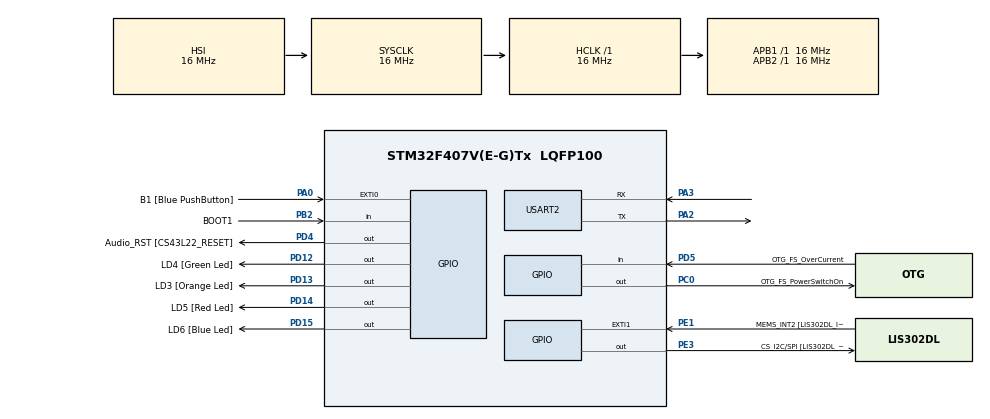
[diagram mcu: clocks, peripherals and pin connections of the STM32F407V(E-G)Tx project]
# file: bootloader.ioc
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Mcu.Family=STM32F4
Mcu.Name=STM32F407V(E-G)Tx
Mcu.Package=LQFP100
NVIC.PriorityGroup=NVIC_PRIORITYGROUP_0
PA0-WKUP.GPIO_Label=B1 [Blue PushButton]
PA0-WKUP.Signal=GPXTI0
PA10.GPIO_Label=OTG_FS_ID
PA10.GPIO_Mode=GPIO_MODE_AF_PP
PA10.GPIO_PuPd=GPIO_NOPULL
PA10.GPIO_Speed=GPIO_SPEED_FREQ_LOW
PA10.Signal=USB_OTG_FS_ID
PA11.GPIO_Label=OTG_FS_DM
PA11.GPIO_Mode=GPIO_MODE_AF_PP
PA11.GPIO_PuPd=GPIO_NOPULL
PA11.GPIO_Speed=GPIO_SPEED_FREQ_LOW
PA11.Signal=USB_OTG_FS_DM
PA12.GPIO_Label=OTG_FS_DP
PA12.GPIO_Mode=GPIO_MODE_AF_PP
PA12.GPIO_PuPd=GPIO_NOPULL
PA12.GPIO_Speed=GPIO_SPEED_FREQ_LOW
PA12.Signal=USB_OTG_FS_DP
PA13.GPIO_Label=SWDIO
PA13.Mode=Serial_Wire
PA13.Signal=SYS_JTMS-SWDIO
PA14.GPIO_Label=SWCLK
PA14.Mode=Serial_Wire
PA14.Signal=SYS_JTCK-SWCLK
PA2.Mode=Asynchronous
PA2.Signal=USART2_TX
PA3.Mode=Asynchronous
PA3.Signal=USART2_RX
PA4.GPIO_Label=I2S3_WS [CS43L22_LRCK]
PA4.GPIO_Mode=GPIO_MODE_AF_PP
PA4.GPIO_PuPd=GPIO_NOPULL
PA4.GPIO_Speed=GPIO_SPEED_FREQ_LOW
PA4.Signal=I2S3_WS
PA5.GPIO_Label=SPI1_SCK [LIS302DL_SCL/SPC]
PA5.GPIO_Mode=GPIO_MODE_AF_PP
PA5.GPIO_PuPd=GPIO_NOPULL
PA5.GPIO_Speed=GPIO_SPEED_FREQ_LOW
PA5.Signal=SPI1_SCK
PA6.GPIO_Label=SPI1_MISO [LIS302DL_SDO]
PA6.GPIO_Mode=GPIO_MODE_AF_PP
PA6.GPIO_PuPd=GPIO_NOPULL
PA6.GPIO_Speed=GPIO_SPEED_FREQ_LOW
PA6.Signal=SPI1_MISO
PA7.GPIO_Label=SPI1_MOSI [LIS302DL_SDA/SDI/SDO]
PA7.GPIO_Mode=GPIO_MODE_AF_PP
PA7.GPIO_PuPd=GPIO_NOPULL
PA7.GPIO_Speed=GPIO_SPEED_FREQ_LOW
PA7.Signal=SPI1_MOSI
PA9.GPIO_Label=VBUS_FS
PA9.GPIO_Mode=GPIO_MODE_INPUT
PA9.GPIO_PuPd=GPIO_NOPULL
PA9.Signal=USB_OTG_FS_VBUS
PB10.GPIO_Label=CLK_IN [MP45DT02_CLK]
PB10.GPIO_Mode=GPIO_MODE_AF_PP
PB10.GPIO_PuPd=GPIO_NOPULL
PB10.GPIO_Speed=GPIO_SPEED_FREQ_LOW
PB10.Signal=I2S2_CK
PB2.GPIO_Label=BOOT1
PB2.GPIO_Mode=GPIO_MODE_INPUT
PB2.GPIO_PuPd=GPIO_NOPULL
PB2.Signal=GPIO_Input
PB3.GPIO_Label=SWO
PB3.Signal=SYS_JTDO-SWO
PB6.GPIO_Label=Audio_SCL [CS43L22_SCL]
PB6.GPIO_Mode=GPIO_MODE_AF_OD
PB6.GPIO_PuPd=GPIO_NOPULL
PB6.GPIO_Speed=GPIO_SPEED_FREQ_LOW
PB6.Signal=I2C1_SCL
PB9.GPIO_Label=Audio_SDA [CS43L22_SDA]
PB9.GPIO_Mode=GPIO_MODE_AF_OD
PB9.GPIO_PuPd=GPIO_NOPULL
PB9.GPIO_Speed=GPIO_SPEED_FREQ_LOW
PB9.Signal=I2C1_SDA
PC0.GPIO_Label=OTG_FS_PowerSwitchOn
PC0.GPIO_PuPd=GPIO_NOPULL
PC0.GPIO_Speed=GPIO_SPEED_FREQ_LOW
PC0.PinState=GPIO_PIN_SET
PC0.Signal=GPIO_Output
PC10.GPIO_Label=I2S3_SCK [CS43L22_SCLK]
PC10.GPIO_Mode=GPIO_MODE_AF_PP
PC10.GPIO_PuPd=GPIO_NOPULL
PC10.GPIO_Speed=GPIO_SPEED_FREQ_LOW
PC10.Signal=I2S3_CK
PC12.GPIO_Label=I2S3_SD [CS43L22_SDIN]
PC12.GPIO_Mode=GPIO_MODE_AF_PP
PC12.GPIO_PuPd=GPIO_NOPULL
PC12.GPIO_Speed=GPIO_SPEED_FREQ_LOW
PC12.Signal=I2S3_SD
PC14-OSC32_IN.GPIO_Label=PC14-OSC32_IN
PC14-OSC32_IN.Signal=RCC_OSC32_IN
PC15-OSC32_OUT.GPIO_Label=PC15-OSC32_OUT
PC15-OSC32_OUT.Signal=RCC_OSC32_OUT
PC3.GPIO_Label=PDM_OUT [MP45DT02_DOUT]
PC3.GPIO_Mode=GPIO_MODE_AF_PP
PC3.GPIO_PuPd=GPIO_NOPULL
PC3.GPIO_Speed=GPIO_SPEED_FREQ_LOW
PC3.Signal=I2S2_SD
PC7.GPIO_Label=I2S3_MCK [CS43L22_MCLK]
PC7.GPIO_Mode=GPIO_MODE_AF_PP
PC7.GPIO_PuPd=GPIO_NOPULL
PC7.GPIO_Speed=GPIO_SPEED_FREQ_LOW
PC7.Signal=I2S3_MCK
PD12.GPIO_Label=LD4 [Green Led]
PD12.GPIO_PuPd=GPIO_NOPULL
PD12.GPIO_Speed=GPIO_SPEED_FREQ_LOW
PD12.Signal=GPIO_Output
PD13.GPIO_Label=LD3 [Orange Led]
PD13.GPIO_PuPd=GPIO_NOPULL
PD13.GPIO_Speed=GPIO_SPEED_FREQ_LOW
PD13.Signal=GPIO_Output
PD14.GPIO_Label=LD5 [Red Led]
PD14.GPIO_PuPd=GPIO_NOPULL
PD14.GPIO_Speed=GPIO_SPEED_FREQ_LOW
PD14.Signal=GPIO_Output
PD15.GPIO_Label=LD6 [Blue Led]
PD15.GPIO_PuPd=GPIO_NOPULL
PD15.GPIO_Speed=GPIO_SPEED_FREQ_LOW
PD15.Signal=GPIO_Output
PD4.GPIO_Label=Audio_RST [CS43L22_RESET]
PD4.GPIO_PuPd=GPIO_NOPULL
PD4.GPIO_Speed=GPIO_SPEED_FREQ_LOW
PD4.Signal=GPIO_Output
PD5.GPIO_Label=OTG_FS_OverCurrent
PD5.GPIO_Mode=GPIO_MODE_INPUT
PD5.GPIO_PuPd=GPIO_NOPULL
PD5.Signal=GPIO_Input
PE1.GPIO_Label=MEMS_INT2 [LIS302DL_INT2]
PE1.GPIO_ModeDefaultEXTI=GPIO_MODE_EVT_RISING
PE1.GPIO_PuPd=GPIO_NOPULL
PE1.Signal=GPXTI1
PE3.GPIO_Label=CS_I2C/SPI [LIS302DL_CS_I2C/SPI]
PE3.GPIO_PuPd=GPIO_NOPULL
PE3.GPIO_Speed=GPIO_SPEED_FREQ_LOW
PE3.Signal=GPIO_Output
PH0-OSC_IN.GPIO_Label=PH0-OSC_IN
PH0-OSC_IN.Signal=RCC_OSC_IN
PH1-OSC_OUT.GPIO_Label=PH1-OSC_OUT
PH1-OSC_OUT.Signal=RCC_OSC_OUT
ProjectManager.HeapSize=0x200
ProjectManager.StackSize=0x400
ProjectManager.TargetToolchain=STM32CubeIDE
RCC.48MHZClocksFreq_Value=14285714.285714285
RCC.AHBFreq_Value=16000000
RCC.APB1Freq_Value=16000000
RCC.APB1TimFreq_Value=16000000
RCC.APB2Freq_Value=16000000
RCC.APB2TimFreq_Value=16000000
RCC.CortexFreq_Value=16000000
RCC.HCLKFreq_Value=16000000
RCC.HSE_VALUE=8000000
RCC.HSI_VALUE=16000000
RCC.LSE_VALUE=32768
RCC.PLLM=8
RCC.PLLN=50
RCC.PLLP=RCC_PLLP_DIV4
RCC.PLLQ=7
RCC.SYSCLKFreq_VALUE=16000000
RCC.VCOOutputFreq_Value=100000000
USART2.VirtualMode=VM_ASYNC
board=STM32F407G-DISC1

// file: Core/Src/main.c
/* USER CODE BEGIN Header */
/**
  ******************************************************************************
  * @file           : main.c
  * @brief          : Main program body
  ******************************************************************************
  * @attention
  *
  * Copyright (c) 2026 STMicroelectronics.
  * All rights reserved.
  *
  * This software is licensed under terms that can be found in the LICENSE file
  * in the root directory of this software component.
  * If no LICENSE file comes with this software, it is provided AS-IS.
  *
  ******************************************************************************
  */
/* USER CODE END Header */
#include "main.h"

/* USER CODE BEGIN Includes */
#include <string.h>
#include "flash_if.h"
#include "protocol.h"
#include "boot_commands.h"
#include "image_store.h"
/* USER CODE END Includes */

/* USER CODE BEGIN PD */
#define APP_BASE_ADDRESS      FLASH_APP_BASE
#define APP_END_EXCLUSIVE     (FLASH_APP_BASE + FLASH_APP_SIZE)
#define APP_RAM_BASE          0x20000000UL
#define APP_RAM_END_EXCLUSIVE 0x20020000UL
/* USER CODE END PD */

UART_HandleTypeDef huart2;

/* USER CODE BEGIN PV */
static ProtocolParser boot_parser;
static BootCommands boot_commands;

/* USER CODE END PV */

void SystemClock_Config(void);
static void MX_GPIO_Init(void);
static void MX_USART2_UART_Init(void);

/* USER CODE BEGIN 0 */
/* GET_INFO diagnostic level 1 only; this check never authorizes a jump. */
static uint32_t Boot_AppVectorsSane(uint32_t msp, uint32_t reset_vector)
{
  uint32_t entry = reset_vector & ~1UL;

  /* Initial descending stack may point one byte past the RAM address range. */
  if ((msp <= APP_RAM_BASE) || (msp > APP_RAM_END_EXCLUSIVE) ||
      ((msp & 7UL) != 0UL))
  {
    return 0U;
  }

  if (((reset_vector & 1UL) == 0UL) ||
      (entry < (APP_BASE_ADDRESS + 8UL)) || (entry >= APP_END_EXCLUSIVE))
  {
    return 0U;
  }

  return 1U;
}

/* Called in the main loop, after CRC/version/length validation. */
static void Boot_OnFrame(const ProtocolFrame *request, void *context)
{
  (void)context;
  ProtocolFrame response;
  uint8_t wire[PROTOCOL_MAX_FRAME];
  uint32_t msp = *(const volatile uint32_t *)APP_BASE_ADDRESS;
  uint32_t reset = *(const volatile uint32_t *)(APP_BASE_ADDRESS + 4UL);
  BootCommands_Handle(&boot_commands, request,
                      (uint8_t)Boot_AppVectorsSane(msp, reset), &response);
  size_t length = Protocol_Encode(&response, wire, sizeof(wire));
  if (length == 0U) Error_Handler();
  /* A transport failure leaves the cached reply available for host retry. */
  (void)HAL_UART_Transmit(&huart2, wire, (uint16_t)length, 100U);
}

/* GCC/AAPCS: r0 = application MSP, r1 = Thumb reset vector.
 * No C statements or stack access are allowed in this naked tail routine.
 * PRIMASK stays set; the application explicitly enables IRQs before HAL_Init.
 */
__attribute__((naked, noreturn, noinline))
static void Boot_BranchToReset(uint32_t msp __attribute__((unused)),
                               uint32_t reset_vector __attribute__((unused)))
{
  __asm volatile (
      "movs r2, #0\n"
      "msr control, r2\n"
      "isb\n"
      "msr basepri, r2\n"
      "msr faultmask, r2\n"
      "msr psp, r2\n"
      "mvn lr, #0\n"
      "msr msp, r0\n"
      "dsb\n"
      "isb\n"
      "bx r1\n"
  );
}

/* Called only from privileged Thread mode in main(), never from an ISR. */
__attribute__((noreturn))
static void Boot_JumpToApp(uint32_t msp, uint32_t reset_vector)
{
  if ((__get_IPSR() != 0U) || ((__get_CONTROL() & 3U) != 0U))
  {
    Error_Handler();
  }

  /* Deinitialize USART before transferring ownership to the application. */
  if (HAL_UART_DeInit(&huart2) != HAL_OK)
  {
    Error_Handler();
  }
  /* Keep SysTick/IRQs running until HAL clock timeout handling is finished. */
  if (HAL_RCC_DeInit() != HAL_OK)
  {
    Error_Handler();
  }

  __disable_irq();
  SysTick->CTRL = 0U;
  SysTick->LOAD = 0U;
  SysTick->VAL = 0U;

  for (uint32_t bank = 0U; bank < (sizeof(NVIC->ICER) / sizeof(NVIC->ICER[0])); bank++)
  {
    NVIC->ICER[bank] = 0xFFFFFFFFUL;
    NVIC->ICPR[bank] = 0xFFFFFFFFUL;
  }
  EXTI->PR = EXTI->PR; /* W1C: clear any latched board-input edges. */
  SCB->ICSR = SCB_ICSR_PENDSTCLR_Msk | SCB_ICSR_PENDSVCLR_Msk;
  SCB->VTOR = APP_BASE_ADDRESS;
  __DSB();
  __ISB();

  Boot_BranchToReset(msp, reset_vector);
}
/* USER CODE END 0 */

int main(void)
{

  /* MCU Configuration--------------------------------------------------------*/

  /* Reset of all peripherals, Initializes the Flash interface and the Systick. */
  HAL_Init();

  /* Configure the system clock */
  SystemClock_Config();

  /* Initialize all configured peripherals */
  MX_GPIO_Init();
  MX_USART2_UART_Init();
  /* USER CODE BEGIN 2 */
  HAL_GPIO_WritePin(LD5_GPIO_Port, LD5_Pin, GPIO_PIN_SET);
  HAL_Delay(750U);
  /* Sample USER before the potentially longer full-image CRC calculation. */
  uint8_t force_bootloader = (HAL_GPIO_ReadPin(B1_GPIO_Port, B1_Pin) == GPIO_PIN_SET);
  uint32_t app_msp, app_reset;
  if (Image_GetBootVectors(force_bootloader, &app_msp, &app_reset) != 0U)
    Boot_JumpToApp(app_msp, app_reset);
  /* Bootloader UART is binary-only. USER button keeps us here until reset. */
  Protocol_Init(&boot_parser);
  BootCommands_Init(&boot_commands);
  __HAL_UART_CLEAR_OREFLAG(&huart2);
  /* USER CODE END 2 */

  /* Infinite loop */
  while (1)
  {

    /* USER CODE BEGIN 3 */
    /* Poll SR/DR directly so an errored byte is rejected before feeding it.
     * USART remains configured by HAL; no RX interrupt/DMA is enabled.
     * The SR read followed by DR read clears RXNE and receive error flags. */
    const uint32_t errors = USART_SR_ORE | USART_SR_NE | USART_SR_FE | USART_SR_PE;
    uint32_t status = huart2.Instance->SR;
    uint32_t now = HAL_GetTick();
    if ((status & (USART_SR_RXNE | errors)) != 0U)
    {
      uint8_t byte = (uint8_t)huart2.Instance->DR;
      if ((status & errors) != 0U)
        boot_parser.used = 0U;
      else
        Protocol_Feed(&boot_parser, &byte, 1U, now, Boot_OnFrame, NULL);
    }
    else
      Protocol_Expire(&boot_parser, now);
  }
  /* USER CODE END 3 */
}

void SystemClock_Config(void)
{
  RCC_OscInitTypeDef RCC_OscInitStruct = {0};
  RCC_ClkInitTypeDef RCC_ClkInitStruct = {0};

  /** Configure the main internal regulator output voltage
  */
  __HAL_RCC_PWR_CLK_ENABLE();
  __HAL_PWR_VOLTAGESCALING_CONFIG(PWR_REGULATOR_VOLTAGE_SCALE1);

  /** Initializes the RCC Oscillators according to the specified parameters
  * in the RCC_OscInitTypeDef structure.
  */
  RCC_OscInitStruct.OscillatorType = RCC_OSCILLATORTYPE_HSI;
  RCC_OscInitStruct.HSIState = RCC_HSI_ON;
  RCC_OscInitStruct.HSICalibrationValue = RCC_HSICALIBRATION_DEFAULT;
  RCC_OscInitStruct.PLL.PLLState = RCC_PLL_NONE;
  if (HAL_RCC_OscConfig(&RCC_OscInitStruct) != HAL_OK)
  {
    Error_Handler();
  }

  /** Initializes the CPU, AHB and APB buses clocks
  */
  RCC_ClkInitStruct.ClockType = RCC_CLOCKTYPE_HCLK|RCC_CLOCKTYPE_SYSCLK
                              |RCC_CLOCKTYPE_PCLK1|RCC_CLOCKTYPE_PCLK2;
  RCC_ClkInitStruct.SYSCLKSource = RCC_SYSCLKSOURCE_HSI;
  RCC_ClkInitStruct.AHBCLKDivider = RCC_SYSCLK_DIV1;
  RCC_ClkInitStruct.APB1CLKDivider = RCC_HCLK_DIV1;
  RCC_ClkInitStruct.APB2CLKDivider = RCC_HCLK_DIV1;

  if (HAL_RCC_ClockConfig(&RCC_ClkInitStruct, FLASH_LATENCY_0) != HAL_OK)
  {
    Error_Handler();
  }
}

static void MX_USART2_UART_Init(void)
{

  huart2.Instance = USART2;
  huart2.Init.BaudRate = 115200;
  huart2.Init.WordLength = UART_WORDLENGTH_8B;
  huart2.Init.StopBits = UART_STOPBITS_1;
  huart2.Init.Parity = UART_PARITY_NONE;
  huart2.Init.Mode = UART_MODE_TX_RX;
  huart2.Init.HwFlowCtl = UART_HWCONTROL_NONE;
  huart2.Init.OverSampling = UART_OVERSAMPLING_16;
  if (HAL_UART_Init(&huart2) != HAL_OK)
  {
    Error_Handler();
  }

}

static void MX_GPIO_Init(void)
{
  GPIO_InitTypeDef GPIO_InitStruct = {0};

  /* GPIO Ports Clock Enable */
  __HAL_RCC_GPIOE_CLK_ENABLE();
  __HAL_RCC_GPIOC_CLK_ENABLE();
  __HAL_RCC_GPIOH_CLK_ENABLE();
  __HAL_RCC_GPIOA_CLK_ENABLE();
  __HAL_RCC_GPIOB_CLK_ENABLE();
  __HAL_RCC_GPIOD_CLK_ENABLE();

  /*Configure GPIO pin Output Level */
  HAL_GPIO_WritePin(CS_I2C_SPI_GPIO_Port, CS_I2C_SPI_Pin, GPIO_PIN_RESET);

  /*Configure GPIO pin Output Level */
  HAL_GPIO_WritePin(OTG_FS_PowerSwitchOn_GPIO_Port, OTG_FS_PowerSwitchOn_Pin, GPIO_PIN_SET);

  /*Configure GPIO pin Output Level */
  HAL_GPIO_WritePin(GPIOD, LD4_Pin|LD3_Pin|LD5_Pin|LD6_Pin
                          |Audio_RST_Pin, GPIO_PIN_RESET);

  /*Configure GPIO pin : CS_I2C_SPI_Pin */
  GPIO_InitStruct.Pin = CS_I2C_SPI_Pin;
  GPIO_InitStruct.Mode = GPIO_MODE_OUTPUT_PP;
  GPIO_InitStruct.Pull = GPIO_NOPULL;
  GPIO_InitStruct.Speed = GPIO_SPEED_FREQ_LOW;
  HAL_GPIO_Init(CS_I2C_SPI_GPIO_Port, &GPIO_InitStruct);

  /*Configure GPIO pin : OTG_FS_PowerSwitchOn_Pin */
  GPIO_InitStruct.Pin = OTG_FS_PowerSwitchOn_Pin;
  GPIO_InitStruct.Mode = GPIO_MODE_OUTPUT_PP;
  GPIO_InitStruct.Pull = GPIO_NOPULL;
  GPIO_InitStruct.Speed = GPIO_SPEED_FREQ_LOW;
  HAL_GPIO_Init(OTG_FS_PowerSwitchOn_GPIO_Port, &GPIO_InitStruct);

  /*Configure GPIO pin : PDM_OUT_Pin */
  GPIO_InitStruct.Pin = PDM_OUT_Pin;
  GPIO_InitStruct.Mode = GPIO_MODE_AF_PP;
  GPIO_InitStruct.Pull = GPIO_NOPULL;
  GPIO_InitStruct.Speed = GPIO_SPEED_FREQ_LOW;
  GPIO_InitStruct.Alternate = GPIO_AF5_SPI2;
  HAL_GPIO_Init(PDM_OUT_GPIO_Port, &GPIO_InitStruct);

  /*Configure GPIO pin : B1_Pin */
  GPIO_InitStruct.Pin = B1_Pin;
  GPIO_InitStruct.Mode = GPIO_MODE_IT_RISING;
  GPIO_InitStruct.Pull = GPIO_NOPULL;
  HAL_GPIO_Init(B1_GPIO_Port, &GPIO_InitStruct);

  /*Configure GPIO pin : I2S3_WS_Pin */
  GPIO_InitStruct.Pin = I2S3_WS_Pin;
  GPIO_InitStruct.Mode = GPIO_MODE_AF_PP;
  GPIO_InitStruct.Pull = GPIO_NOPULL;
  GPIO_InitStruct.Speed = GPIO_SPEED_FREQ_LOW;
  GPIO_InitStruct.Alternate = GPIO_AF6_SPI3;
  HAL_GPIO_Init(I2S3_WS_GPIO_Port, &GPIO_InitStruct);

  /*Configure GPIO pins : SPI1_SCK_Pin SPI1_MISO_Pin SPI1_MOSI_Pin */
  GPIO_InitStruct.Pin = SPI1_SCK_Pin|SPI1_MISO_Pin|SPI1_MOSI_Pin;
  GPIO_InitStruct.Mode = GPIO_MODE_AF_PP;
  GPIO_InitStruct.Pull = GPIO_NOPULL;
  GPIO_InitStruct.Speed = GPIO_SPEED_FREQ_LOW;
  GPIO_InitStruct.Alternate = GPIO_AF5_SPI1;
  HAL_GPIO_Init(GPIOA, &GPIO_InitStruct);

  /*Configure GPIO pin : BOOT1_Pin */
  GPIO_InitStruct.Pin = BOOT1_Pin;
  GPIO_InitStruct.Mode = GPIO_MODE_INPUT;
  GPIO_InitStruct.Pull = GPIO_NOPULL;
  HAL_GPIO_Init(BOOT1_GPIO_Port, &GPIO_InitStruct);

  /*Configure GPIO pin : CLK_IN_Pin */
  GPIO_InitStruct.Pin = CLK_IN_Pin;
  GPIO_InitStruct.Mode = GPIO_MODE_AF_PP;
  GPIO_InitStruct.Pull = GPIO_NOPULL;
  GPIO_InitStruct.Speed = GPIO_SPEED_FREQ_LOW;
  GPIO_InitStruct.Alternate = GPIO_AF5_SPI2;
  HAL_GPIO_Init(CLK_IN_GPIO_Port, &GPIO_InitStruct);

  /*Configure GPIO pins : LD4_Pin LD3_Pin LD5_Pin LD6_Pin
                           Audio_RST_Pin */
  GPIO_InitStruct.Pin = LD4_Pin|LD3_Pin|LD5_Pin|LD6_Pin
                          |Audio_RST_Pin;
  GPIO_InitStruct.Mode = GPIO_MODE_OUTPUT_PP;
  GPIO_InitStruct.Pull = GPIO_NOPULL;
  GPIO_InitStruct.Speed = GPIO_SPEED_FREQ_LOW;
  HAL_GPIO_Init(GPIOD, &GPIO_InitStruct);

  /*Configure GPIO pins : I2S3_MCK_Pin I2S3_SCK_Pin I2S3_SD_Pin */
  GPIO_InitStruct.Pin = I2S3_MCK_Pin|I2S3_SCK_Pin|I2S3_SD_Pin;
  GPIO_InitStruct.Mode = GPIO_MODE_AF_PP;
  GPIO_InitStruct.Pull = GPIO_NOPULL;
  GPIO_InitStruct.Speed = GPIO_SPEED_FREQ_LOW;
  GPIO_InitStruct.Alternate = GPIO_AF6_SPI3;
  HAL_GPIO_Init(GPIOC, &GPIO_InitStruct);

  /*Configure GPIO pin : VBUS_FS_Pin */
  GPIO_InitStruct.Pin = VBUS_FS_Pin;
  GPIO_InitStruct.Mode = GPIO_MODE_INPUT;
  GPIO_InitStruct.Pull = GPIO_NOPULL;
  HAL_GPIO_Init(VBUS_FS_GPIO_Port, &GPIO_InitStruct);

  /*Configure GPIO pins : OTG_FS_ID_Pin OTG_FS_DM_Pin OTG_FS_DP_Pin */
  GPIO_InitStruct.Pin = OTG_FS_ID_Pin|OTG_FS_DM_Pin|OTG_FS_DP_Pin;
  GPIO_InitStruct.Mode = GPIO_MODE_AF_PP;
  GPIO_InitStruct.Pull = GPIO_NOPULL;
  GPIO_InitStruct.Speed = GPIO_SPEED_FREQ_LOW;
  GPIO_InitStruct.Alternate = GPIO_AF10_OTG_FS;
  HAL_GPIO_Init(GPIOA, &GPIO_InitStruct);

  /*Configure GPIO pin : OTG_FS_OverCurrent_Pin */
  GPIO_InitStruct.Pin = OTG_FS_OverCurrent_Pin;
  GPIO_InitStruct.Mode = GPIO_MODE_INPUT;
  GPIO_InitStruct.Pull = GPIO_NOPULL;
  HAL_GPIO_Init(OTG_FS_OverCurrent_GPIO_Port, &GPIO_InitStruct);

  /*Configure GPIO pins : Audio_SCL_Pin Audio_SDA_Pin */
  GPIO_InitStruct.Pin = Audio_SCL_Pin|Audio_SDA_Pin;
  GPIO_InitStruct.Mode = GPIO_MODE_AF_OD;
  GPIO_InitStruct.Pull = GPIO_NOPULL;
  GPIO_InitStruct.Speed = GPIO_SPEED_FREQ_LOW;
  GPIO_InitStruct.Alternate = GPIO_AF4_I2C1;
  HAL_GPIO_Init(GPIOB, &GPIO_InitStruct);

  /*Configure GPIO pin : MEMS_INT2_Pin */
  GPIO_InitStruct.Pin = MEMS_INT2_Pin;
  GPIO_InitStruct.Mode = GPIO_MODE_EVT_RISING;
  GPIO_InitStruct.Pull = GPIO_NOPULL;
  HAL_GPIO_Init(MEMS_INT2_GPIO_Port, &GPIO_InitStruct);

}

void Error_Handler(void)
{
  __disable_irq();
  while (1)
  {
  }
}
